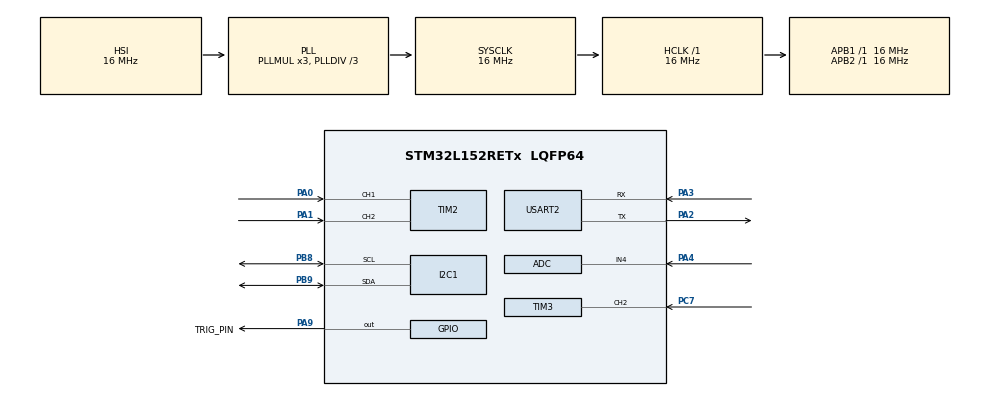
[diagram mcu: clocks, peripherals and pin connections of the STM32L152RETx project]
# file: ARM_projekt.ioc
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ADC.Channel-1\#ChannelRegularConversion=ADC_CHANNEL_4
ADC.NbrOfConversionFlag=1
ADC.Rank-1\#ChannelRegularConversion=1
ADC.SamplingTime-1\#ChannelRegularConversion=ADC_SAMPLETIME_4CYCLES
I2C1.I2C_Mode=I2C_Fast
Mcu.Family=STM32L1
Mcu.Name=STM32L152RETx
Mcu.Package=LQFP64
NVIC.PriorityGroup=NVIC_PRIORITYGROUP_4
NVIC.TIM3_IRQn=true\:0\:0\:false\:false\:true\:true\:true\:true
PA0-WKUP1.Signal=S_TIM2_CH1_ETR
PA1.Signal=S_TIM2_CH2
PA13.Mode=Serial_Wire
PA13.Signal=SYS_JTMS-SWDIO
PA14.Mode=Serial_Wire
PA14.Signal=SYS_JTCK-SWCLK
PA2.Mode=Asynchronous
PA2.Signal=USART2_TX
PA3.Mode=Asynchronous
PA3.Signal=USART2_RX
PA4.Mode=IN4
PA4.Signal=ADC_IN4
PA9.GPIO_Label=TRIG_PIN
PA9.Signal=GPIO_Output
PB8.Mode=I2C
PB8.Signal=I2C1_SCL
PB9.Mode=I2C
PB9.Signal=I2C1_SDA
PC7.Signal=S_TIM3_CH2
ProjectManager.HeapSize=0x200
ProjectManager.StackSize=0x400
ProjectManager.TargetToolchain=STM32CubeIDE
RCC.48MHZClocksFreq_Value=24000000
RCC.AHBFreq_Value=16000000
RCC.APB1Freq_Value=16000000
RCC.APB1TimFreq_Value=16000000
RCC.APB2Freq_Value=16000000
RCC.APB2TimFreq_Value=16000000
RCC.HCLKFreq_Value=16000000
RCC.HSE_VALUE=24000000
RCC.HSI_VALUE=16000000
RCC.LSE_VALUE=32768
RCC.MSI_VALUE=2097000
RCC.PLLDIV=RCC_PLL_DIV3
RCC.SYSCLKFreq_VALUE=16000000
RCC.SYSCLKSource=RCC_SYSCLKSOURCE_PLLCLK
RCC.VCOOutputFreq_Value=48000000
SH.S_TIM2_CH1_ETR.0=TIM2_CH1,Encoder_Interface
SH.S_TIM2_CH2.0=TIM2_CH2,Encoder_Interface
SH.S_TIM3_CH2.0=TIM3_CH2,Input_Capture2_from_TI2
TIM2.EncoderMode=TIM_ENCODERMODE_TI12
TIM2.IC1Filter=15
TIM2.IC1Polarity=TIM_ICPOLARITY_FALLING
TIM2.IC2Filter=15
TIM3.Channel-Input_Capture2_from_TI2=TIM_CHANNEL_2
TIM3.ICFilter_CH2=0
TIM3.Prescaler=15
USART2.VirtualMode=VM_ASYNC
VP_TIM3_VS_ClockSourceINT.Mode=Internal
board=custom

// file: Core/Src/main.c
/* USER CODE BEGIN Header */
/**
  ******************************************************************************
  * @file           : main.c
  * @brief          : Main program body
  ******************************************************************************
  * @attention
  *
  * Copyright (c) 2026 STMicroelectronics.
  * All rights reserved.
  *
  * This software is licensed under terms that can be found in the LICENSE file
  * in the root directory of this software component.
  * If no LICENSE file comes with this software, it is provided AS-IS.
  *
  ******************************************************************************
  */
/* USER CODE END Header */
#include "main.h"

/* USER CODE BEGIN Includes */
#include "hcsr04.h"
#include "encoder.h"
#include "i2c-lcd.h"

#include <stdlib.h>
#include <stdio.h>
#include <string.h>
/* USER CODE END Includes */

ADC_HandleTypeDef hadc;

I2C_HandleTypeDef hi2c1;

TIM_HandleTypeDef htim2;
TIM_HandleTypeDef htim3;

UART_HandleTypeDef huart2;

/* USER CODE BEGIN PV */
HCSR04_Handle hc1; // czujnik
Encoder_Handle enc_dist; // enkoder

uint16_t tolerance = 1;        // Tolerancja
/* USER CODE END PV */

void SystemClock_Config(void);
static void MX_GPIO_Init(void);
static void MX_TIM3_Init(void);
static void MX_USART2_UART_Init(void);
static void MX_TIM2_Init(void);
static void MX_ADC_Init(void);
static void MX_I2C1_Init(void);
/* USER CODE BEGIN PFP */
uint16_t Get_Tolerance_From_ADC(void);
void Update_Interface(uint16_t dist, uint16_t target, uint16_t tol, uint8_t detected);
/* USER CODE END PFP */

int main(void)
{

  /* MCU Configuration--------------------------------------------------------*/

  /* Reset of all peripherals, Initializes the Flash interface and the Systick. */
  HAL_Init();

  /* Configure the system clock */
  SystemClock_Config();

  /* Initialize all configured peripherals */
  MX_GPIO_Init();
  MX_TIM3_Init();
  MX_USART2_UART_Init();
  MX_TIM2_Init();
  MX_ADC_Init();
  MX_I2C1_Init();
  /* USER CODE BEGIN 2 */
  HCSR04_Init(&hc1, &htim3, TIM_CHANNEL_2, TRIG_PIN_GPIO_Port, TRIG_PIN_Pin);

  // timer enkodera
  HAL_TIM_Encoder_Start(&htim2, TIM_CHANNEL_ALL);

  // wartość pocz. 50, min 2, max 400, 4 impulsy na klik
  Encoder_Init(&enc_dist, &htim2, 50, 2, 400, 4);

  lcd_init();

  uint8_t last_detection = 2;   // Pamięć stanu (0-brak, 1-jest, 2-start)

  uint32_t last_sensor_read = 0;
  uint32_t last_ui_update = 0;
  uint8_t update_needed = 1;
  /* USER CODE END 2 */

  /* Infinite loop */
  /* USER CODE BEGIN WHILE */
  while (1)
  {
	// Sprawdź enkoder i od razu ustaw flagę, jeśli kręcono gałką
	if (Encoder_Update(&enc_dist))
	{
		update_needed = 1;
	}

	// Odczyt potencjometru
	uint16_t new_tolerance = Get_Tolerance_From_ADC();
	if (new_tolerance != tolerance)
	{
		tolerance = new_tolerance;
		update_needed = 1;
	}

	// Pomiar czujnikiem (odświeżany co 100ms)
	if (HAL_GetTick() - last_sensor_read >= 100)
	{
		HCSR04_Trigger(&hc1);
		last_sensor_read = HAL_GetTick();
	}

	// Sprawdź, czy stan detekcji się zmienił
	int16_t blad = (int16_t)hc1.Distance - enc_dist.current_value;
	uint8_t current_detection = (abs(blad) <= tolerance);

	if (current_detection != last_detection)
	{
		update_needed = 1;
		last_detection = current_detection; // Zapamiętany nowy stan
	}

	// Odświerzanie interfaceu (MAX 20 FPS)
	// Rysuj tylko, jeśli zaszła zmiana ORAZ minęło 40ms od ostatniego rysowania
	if (update_needed && (HAL_GetTick() - last_ui_update >= 50))
	{
		Update_Interface(hc1.Distance, enc_dist.current_value, tolerance, current_detection);

		last_ui_update = HAL_GetTick(); // Reset stoper ekranu
		update_needed = 0;              // Zmiana flagi dopiero PO narysowaniu
	}

    /* USER CODE END WHILE */

  }
}

void SystemClock_Config(void)
{
  RCC_OscInitTypeDef RCC_OscInitStruct = {0};
  RCC_ClkInitTypeDef RCC_ClkInitStruct = {0};

  /** Configure the main internal regulator output voltage
  */
  __HAL_PWR_VOLTAGESCALING_CONFIG(PWR_REGULATOR_VOLTAGE_SCALE1);

  /** Initializes the RCC Oscillators according to the specified parameters
  * in the RCC_OscInitTypeDef structure.
  */
  RCC_OscInitStruct.OscillatorType = RCC_OSCILLATORTYPE_HSI;
  RCC_OscInitStruct.HSIState = RCC_HSI_ON;
  RCC_OscInitStruct.HSICalibrationValue = RCC_HSICALIBRATION_DEFAULT;
  RCC_OscInitStruct.PLL.PLLState = RCC_PLL_ON;
  RCC_OscInitStruct.PLL.PLLSource = RCC_PLLSOURCE_HSI;
  RCC_OscInitStruct.PLL.PLLMUL = RCC_PLL_MUL3;
  RCC_OscInitStruct.PLL.PLLDIV = RCC_PLL_DIV3;
  if (HAL_RCC_OscConfig(&RCC_OscInitStruct) != HAL_OK)
  {
    Error_Handler();
  }

  /** Initializes the CPU, AHB and APB buses clocks
  */
  RCC_ClkInitStruct.ClockType = RCC_CLOCKTYPE_HCLK|RCC_CLOCKTYPE_SYSCLK
                              |RCC_CLOCKTYPE_PCLK1|RCC_CLOCKTYPE_PCLK2;
  RCC_ClkInitStruct.SYSCLKSource = RCC_SYSCLKSOURCE_PLLCLK;
  RCC_ClkInitStruct.AHBCLKDivider = RCC_SYSCLK_DIV1;
  RCC_ClkInitStruct.APB1CLKDivider = RCC_HCLK_DIV1;
  RCC_ClkInitStruct.APB2CLKDivider = RCC_HCLK_DIV1;

  if (HAL_RCC_ClockConfig(&RCC_ClkInitStruct, FLASH_LATENCY_0) != HAL_OK)
  {
    Error_Handler();
  }
}

static void MX_ADC_Init(void)
{

  ADC_ChannelConfTypeDef sConfig = {0};

  /** Configure the global features of the ADC (Clock, Resolution, Data Alignment and number of conversion)
  */
  hadc.Instance = ADC1;
  hadc.Init.ClockPrescaler = ADC_CLOCK_ASYNC_DIV1;
  hadc.Init.Resolution = ADC_RESOLUTION_12B;
  hadc.Init.DataAlign = ADC_DATAALIGN_RIGHT;
  hadc.Init.ScanConvMode = ADC_SCAN_DISABLE;
  hadc.Init.EOCSelection = ADC_EOC_SEQ_CONV;
  hadc.Init.LowPowerAutoWait = ADC_AUTOWAIT_DISABLE;
  hadc.Init.LowPowerAutoPowerOff = ADC_AUTOPOWEROFF_DISABLE;
  hadc.Init.ChannelsBank = ADC_CHANNELS_BANK_A;
  hadc.Init.ContinuousConvMode = DISABLE;
  hadc.Init.NbrOfConversion = 1;
  hadc.Init.DiscontinuousConvMode = DISABLE;
  hadc.Init.ExternalTrigConv = ADC_SOFTWARE_START;
  hadc.Init.ExternalTrigConvEdge = ADC_EXTERNALTRIGCONVEDGE_NONE;
  hadc.Init.DMAContinuousRequests = DISABLE;
  if (HAL_ADC_Init(&hadc) != HAL_OK)
  {
    Error_Handler();
  }

  /** Configure for the selected ADC regular channel its corresponding rank in the sequencer and its sample time.
  */
  sConfig.Channel = ADC_CHANNEL_4;
  sConfig.Rank = ADC_REGULAR_RANK_1;
  sConfig.SamplingTime = ADC_SAMPLETIME_4CYCLES;
  if (HAL_ADC_ConfigChannel(&hadc, &sConfig) != HAL_OK)
  {
    Error_Handler();
  }

}

static void MX_I2C1_Init(void)
{

  hi2c1.Instance = I2C1;
  hi2c1.Init.ClockSpeed = 400000;
  hi2c1.Init.DutyCycle = I2C_DUTYCYCLE_2;
  hi2c1.Init.OwnAddress1 = 0;
  hi2c1.Init.AddressingMode = I2C_ADDRESSINGMODE_7BIT;
  hi2c1.Init.DualAddressMode = I2C_DUALADDRESS_DISABLE;
  hi2c1.Init.OwnAddress2 = 0;
  hi2c1.Init.GeneralCallMode = I2C_GENERALCALL_DISABLE;
  hi2c1.Init.NoStretchMode = I2C_NOSTRETCH_DISABLE;
  if (HAL_I2C_Init(&hi2c1) != HAL_OK)
  {
    Error_Handler();
  }

}

static void MX_TIM2_Init(void)
{

  TIM_Encoder_InitTypeDef sConfig = {0};
  TIM_MasterConfigTypeDef sMasterConfig = {0};

  htim2.Instance = TIM2;
  htim2.Init.Prescaler = 0;
  htim2.Init.CounterMode = TIM_COUNTERMODE_UP;
  htim2.Init.Period = 65535;
  htim2.Init.ClockDivision = TIM_CLOCKDIVISION_DIV1;
  htim2.Init.AutoReloadPreload = TIM_AUTORELOAD_PRELOAD_DISABLE;
  sConfig.EncoderMode = TIM_ENCODERMODE_TI12;
  sConfig.IC1Polarity = TIM_ICPOLARITY_FALLING;
  sConfig.IC1Selection = TIM_ICSELECTION_DIRECTTI;
  sConfig.IC1Prescaler = TIM_ICPSC_DIV1;
  sConfig.IC1Filter = 15;
  sConfig.IC2Polarity = TIM_ICPOLARITY_RISING;
  sConfig.IC2Selection = TIM_ICSELECTION_DIRECTTI;
  sConfig.IC2Prescaler = TIM_ICPSC_DIV1;
  sConfig.IC2Filter = 15;
  if (HAL_TIM_Encoder_Init(&htim2, &sConfig) != HAL_OK)
  {
    Error_Handler();
  }
  sMasterConfig.MasterOutputTrigger = TIM_TRGO_RESET;
  sMasterConfig.MasterSlaveMode = TIM_MASTERSLAVEMODE_DISABLE;
  if (HAL_TIMEx_MasterConfigSynchronization(&htim2, &sMasterConfig) != HAL_OK)
  {
    Error_Handler();
  }

}

static void MX_TIM3_Init(void)
{

  TIM_ClockConfigTypeDef sClockSourceConfig = {0};
  TIM_MasterConfigTypeDef sMasterConfig = {0};
  TIM_IC_InitTypeDef sConfigIC = {0};

  htim3.Instance = TIM3;
  htim3.Init.Prescaler = 15;
  htim3.Init.CounterMode = TIM_COUNTERMODE_UP;
  htim3.Init.Period = 65535;
  htim3.Init.ClockDivision = TIM_CLOCKDIVISION_DIV1;
  htim3.Init.AutoReloadPreload = TIM_AUTORELOAD_PRELOAD_DISABLE;
  if (HAL_TIM_Base_Init(&htim3) != HAL_OK)
  {
    Error_Handler();
  }
  sClockSourceConfig.ClockSource = TIM_CLOCKSOURCE_INTERNAL;
  if (HAL_TIM_ConfigClockSource(&htim3, &sClockSourceConfig) != HAL_OK)
  {
    Error_Handler();
  }
  if (HAL_TIM_IC_Init(&htim3) != HAL_OK)
  {
    Error_Handler();
  }
  sMasterConfig.MasterOutputTrigger = TIM_TRGO_RESET;
  sMasterConfig.MasterSlaveMode = TIM_MASTERSLAVEMODE_DISABLE;
  if (HAL_TIMEx_MasterConfigSynchronization(&htim3, &sMasterConfig) != HAL_OK)
  {
    Error_Handler();
  }
  sConfigIC.ICPolarity = TIM_INPUTCHANNELPOLARITY_RISING;
  sConfigIC.ICSelection = TIM_ICSELECTION_DIRECTTI;
  sConfigIC.ICPrescaler = TIM_ICPSC_DIV1;
  sConfigIC.ICFilter = 0;
  if (HAL_TIM_IC_ConfigChannel(&htim3, &sConfigIC, TIM_CHANNEL_2) != HAL_OK)
  {
    Error_Handler();
  }

}

static void MX_USART2_UART_Init(void)
{

  huart2.Instance = USART2;
  huart2.Init.BaudRate = 115200;
  huart2.Init.WordLength = UART_WORDLENGTH_8B;
  huart2.Init.StopBits = UART_STOPBITS_1;
  huart2.Init.Parity = UART_PARITY_NONE;
  huart2.Init.Mode = UART_MODE_TX_RX;
  huart2.Init.HwFlowCtl = UART_HWCONTROL_NONE;
  huart2.Init.OverSampling = UART_OVERSAMPLING_16;
  if (HAL_UART_Init(&huart2) != HAL_OK)
  {
    Error_Handler();
  }

}

static void MX_GPIO_Init(void)
{
  GPIO_InitTypeDef GPIO_InitStruct = {0};

  /* GPIO Ports Clock Enable */
  __HAL_RCC_GPIOA_CLK_ENABLE();
  __HAL_RCC_GPIOC_CLK_ENABLE();
  __HAL_RCC_GPIOB_CLK_ENABLE();

  /*Configure GPIO pin Output Level */
  HAL_GPIO_WritePin(TRIG_PIN_GPIO_Port, TRIG_PIN_Pin, GPIO_PIN_RESET);

  /*Configure GPIO pin : TRIG_PIN_Pin */
  GPIO_InitStruct.Pin = TRIG_PIN_Pin;
  GPIO_InitStruct.Mode = GPIO_MODE_OUTPUT_PP;
  GPIO_InitStruct.Pull = GPIO_NOPULL;
  GPIO_InitStruct.Speed = GPIO_SPEED_FREQ_LOW;
  HAL_GPIO_Init(TRIG_PIN_GPIO_Port, &GPIO_InitStruct);

}

/* USER CODE BEGIN 4 */
void HAL_TIM_IC_CaptureCallback(TIM_HandleTypeDef *htim)
{
	// Przekazuj list do obiektu czujnika
	HCSR04_CaptureCallback(&hc1, htim);

}

uint16_t Get_Tolerance_From_ADC(void)
{
	static uint32_t last_adc_val = 0;
	uint16_t tol = 1; // Wartość domyślna

	HAL_ADC_Start(&hadc);
	if (HAL_ADC_PollForConversion(&hadc, 10) == HAL_OK)
	{
		uint32_t current_adc_val = HAL_ADC_GetValue(&hadc);

		// Histereza
		if (abs((int32_t)current_adc_val - (int32_t)last_adc_val) > 40)
		{
			last_adc_val = current_adc_val;
		}

		// Dead-zones dla 12-bitowego ADC (0-4095)
		if (last_adc_val > 4000)
		{
			// Prawie maksymalnie w prawo - block na 20
			tol = 20;
		}
		else if (last_adc_val < 50)
		{
			// Prawie maksymalnie w lewo -> block na 1
			tol = 1;
		}
		else
		{
			// Środkowa, liniowa część obrotu gałki
			tol = 1 + (last_adc_val * 19) / 4095;
		}
	}
    HAL_ADC_Stop(&hadc);
    return tol;
}

// Funkcja ogarniająca wyświetlanie (UART + LCD)
void Update_Interface(uint16_t dist, uint16_t target, uint16_t tol, uint8_t detected)
{
    char buf_uart[100];
    char buf_lcd[32];

    // --- SERIAL MONITOR ---
    int len = sprintf(buf_uart, "Cel: %d +/- %d, \r\n Zmerzone: %d\r\n", target, tol, dist);
    HAL_UART_Transmit(&huart2, (uint8_t*)buf_uart, len, 100);

    // --- LCD LINIA 1 (Nastawy) ---
    lcd_put_cur(0, 0);
    sprintf(buf_lcd, "C:%3ucm +/- %2ucm ", target, tol);
    lcd_send_string(buf_lcd);

    // --- LCD LINIA 2 (Pomiar i Status) ---
    lcd_put_cur(1, 0);
    if (detected)
    {
        sprintf(buf_lcd, "Wykryto - %3ucm ", dist);
        lcd_send_string(buf_lcd);
    }
    else
    {
        lcd_send_string("                ");
    }
}
/* USER CODE END 4 */

void Error_Handler(void)
{
  __disable_irq();
  while (1)
  {
  }
}
